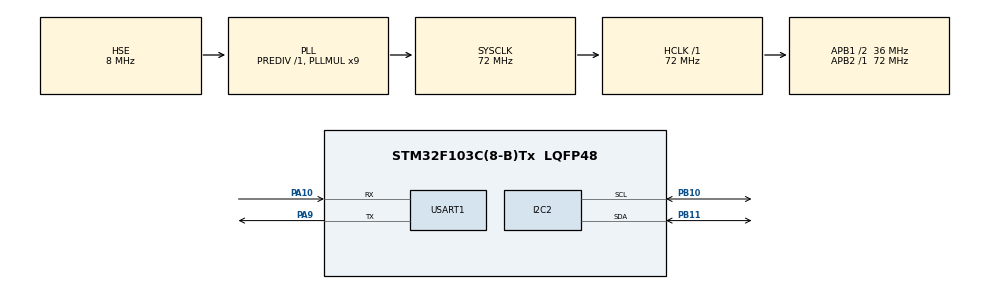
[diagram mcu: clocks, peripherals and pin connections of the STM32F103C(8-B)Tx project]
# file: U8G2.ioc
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I2C2.I2C_Mode=I2C_Fast
Mcu.Family=STM32F1
Mcu.Name=STM32F103C(8-B)Tx
Mcu.Package=LQFP48
NVIC.I2C2_EV_IRQn=true\:2\:0\:true\:false\:true\:true\:true\:true
NVIC.PriorityGroup=NVIC_PRIORITYGROUP_4
NVIC.USART1_IRQn=true\:0\:0\:false\:false\:true\:true\:true\:true
PA10.Mode=Asynchronous
PA10.Signal=USART1_RX
PA13.Mode=Serial_Wire
PA13.Signal=SYS_JTMS-SWDIO
PA14.Mode=Serial_Wire
PA14.Signal=SYS_JTCK-SWCLK
PA2.Signal=USART2_TX
PA3.Signal=USART2_RX
PA9.Mode=Asynchronous
PA9.Signal=USART1_TX
PB10.Mode=I2C
PB10.Signal=I2C2_SCL
PB11.Mode=I2C
PB11.Signal=I2C2_SDA
PD0-OSC_IN.Mode=HSE-External-Oscillator
PD0-OSC_IN.Signal=RCC_OSC_IN
PD1-OSC_OUT.Mode=HSE-External-Oscillator
PD1-OSC_OUT.Signal=RCC_OSC_OUT
ProjectManager.HeapSize=0x200
ProjectManager.StackSize=0x400
ProjectManager.TargetToolchain=CMake
RCC.AHBFreq_Value=72000000
RCC.APB1CLKDivider=RCC_HCLK_DIV2
RCC.APB1Freq_Value=36000000
RCC.APB1TimFreq_Value=72000000
RCC.APB2Freq_Value=72000000
RCC.APB2TimFreq_Value=72000000
RCC.HCLKFreq_Value=72000000
RCC.PLLMUL=RCC_PLL_MUL9
RCC.PLLSourceVirtual=RCC_PLLSOURCE_HSE
RCC.SYSCLKFreq_VALUE=72000000
RCC.SYSCLKSource=RCC_SYSCLKSOURCE_PLLCLK
RCC.USBFreq_Value=72000000
USART1.VirtualMode=VM_ASYNC
board=custom

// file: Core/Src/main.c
/* USER CODE BEGIN Header */
/**
  ******************************************************************************
  * @file           : main.c
  * @brief          : Main program body
  ******************************************************************************
  * @attention
  *
  * Copyright (c) 2025 STMicroelectronics.
  * All rights reserved.
  *
  * This software is licensed under terms that can be found in the LICENSE file
  * in the root directory of this software component.
  * If no LICENSE file comes with this software, it is provided AS-IS.
  *
  ******************************************************************************
  */
/* USER CODE END Header */
#include "main.h"
#include "i2c.h"
#include "usart.h"
#include "gpio.h"

/* USER CODE BEGIN Includes */
#include "u8g2.h"
#include "oled.h"
/* USER CODE END Includes */

/* USER CODE BEGIN PV */
u8g2_t u8g2;
uint8_t receiveData[10];
uint8_t uartDataReady = 0;
/* USER CODE END PV */

void SystemClock_Config(void);

int main(void)
{

  /* MCU Configuration--------------------------------------------------------*/

  /* Reset of all peripherals, Initializes the Flash interface and the Systick. */
  HAL_Init();

  /* Configure the system clock */
  SystemClock_Config();

  /* Initialize all configured peripherals */
  MX_GPIO_Init();
  MX_I2C2_Init();
  MX_USART1_UART_Init();
  /* USER CODE BEGIN 2 */
  u8g2Init(&u8g2);
  HAL_UARTEx_ReceiveToIdle_IT(&huart1,receiveData,sizeof(receiveData));
  /* USER CODE END 2 */

  /* Infinite loop */
  /* USER CODE BEGIN WHILE */
  while (1)
  {
    // HAL_UART_Transmit(&huart1, receiveData,2, 100);
    if (uartDataReady)
        {
            uartDataReady = 0;
            u8g2_FirstPage(&u8g2);
            do {
                u8g2_SetFont(&u8g2, u8g2_font_ncenB08_tr);
                u8g2_DrawStr(&u8g2, 0, 20, (char*)receiveData);
            } while (u8g2_NextPage(&u8g2));
        }
    /* USER CODE END WHILE */

  }
}

void SystemClock_Config(void)
{
  RCC_OscInitTypeDef RCC_OscInitStruct = {0};
  RCC_ClkInitTypeDef RCC_ClkInitStruct = {0};

  /** Initializes the RCC Oscillators according to the specified parameters
  * in the RCC_OscInitTypeDef structure.
  */
  RCC_OscInitStruct.OscillatorType = RCC_OSCILLATORTYPE_HSE;
  RCC_OscInitStruct.HSEState = RCC_HSE_ON;
  RCC_OscInitStruct.HSEPredivValue = RCC_HSE_PREDIV_DIV1;
  RCC_OscInitStruct.HSIState = RCC_HSI_ON;
  RCC_OscInitStruct.PLL.PLLState = RCC_PLL_ON;
  RCC_OscInitStruct.PLL.PLLSource = RCC_PLLSOURCE_HSE;
  RCC_OscInitStruct.PLL.PLLMUL = RCC_PLL_MUL9;
  if (HAL_RCC_OscConfig(&RCC_OscInitStruct) != HAL_OK)
  {
    Error_Handler();
  }

  /** Initializes the CPU, AHB and APB buses clocks
  */
  RCC_ClkInitStruct.ClockType = RCC_CLOCKTYPE_HCLK|RCC_CLOCKTYPE_SYSCLK
                              |RCC_CLOCKTYPE_PCLK1|RCC_CLOCKTYPE_PCLK2;
  RCC_ClkInitStruct.SYSCLKSource = RCC_SYSCLKSOURCE_PLLCLK;
  RCC_ClkInitStruct.AHBCLKDivider = RCC_SYSCLK_DIV1;
  RCC_ClkInitStruct.APB1CLKDivider = RCC_HCLK_DIV2;
  RCC_ClkInitStruct.APB2CLKDivider = RCC_HCLK_DIV1;

  if (HAL_RCC_ClockConfig(&RCC_ClkInitStruct, FLASH_LATENCY_2) != HAL_OK)
  {
    Error_Handler();
  }
}

/* USER CODE BEGIN 4 */
void HAL_UARTEx_RxEventCallback(UART_HandleTypeDef *huart, uint16_t Size){
  if(huart==&huart1){
    HAL_UART_Transmit(&huart1,receiveData,sizeof(receiveData),100);
    uartDataReady=1;
    HAL_UARTEx_ReceiveToIdle_IT(&huart1,receiveData,sizeof(receiveData));
  }
}
/* USER CODE END 4 */

void Error_Handler(void)
{
  __disable_irq();
  while (1)
  {
  }
}
